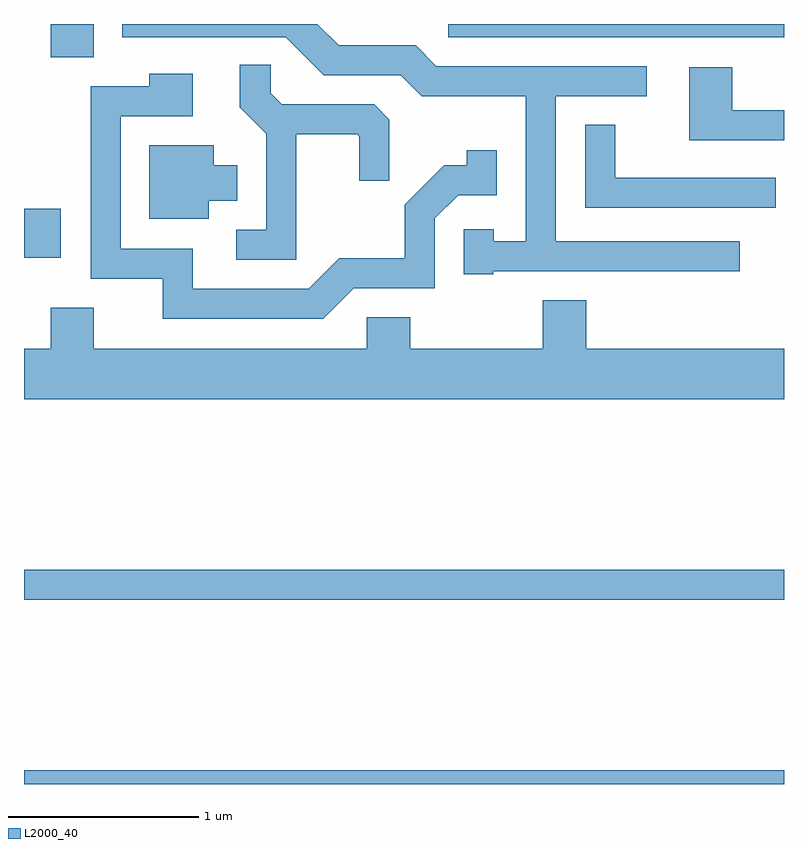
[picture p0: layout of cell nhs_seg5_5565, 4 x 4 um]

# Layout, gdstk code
import gdstk
lib = gdstk.Library(unit=1e-6, precision=1e-09)
def R(c, l, rs):  # rectangles x0, y0, x1, y1
    for r in rs: c.add(gdstk.rectangle(r[:2], r[2:], *l))
def P(c, l, *ps):  # polygons
    for p in ps: c.add(gdstk.Polygon(p, *l))
L2000_40 = (2000, 40)

nhs_seg5_5565 = lib.new_cell('nhs_seg5_5565')
R(nhs_seg5_5565, L2000_40, [(349.611,1488.072,353.611,1488.144), (349.611,1489.041,353.611,1489.199), (349.611,1490.841,349.804,1491.099), (349.751,1491.896,349.979,1492.072), (351.843,1492.001,353.611,1492.072)])
P(nhs_seg5_5565, L2000_40, [(352.08,1490.771),(353.378,1490.771),(353.378,1490.929),(352.409,1490.929),(352.409,1491.691),(352.888,1491.691),(352.888,1491.849),(351.782,1491.849),(351.672,1491.959),(351.267,1491.959),(351.154,1492.072),(350.128,1492.072),(350.128,1492.001),(350.989,1492.001),(351.189,1491.801),(351.594,1491.801),(351.704,1491.691),(352.251,1491.691),(352.251,1490.929),(352.084,1490.929),(352.084,1490.993),(351.926,1490.993),(351.926,1490.756),(352.08,1490.756)],
  [(351.044,1491.491),(351.364,1491.491),(351.376,1491.479),(351.376,1491.248),(351.534,1491.248),(351.534,1491.569),(351.454,1491.649),(350.967,1491.649),(350.909,1491.707),(350.909,1491.858),(350.746,1491.858),(350.746,1491.634),(350.886,1491.494),(350.886,1490.989),(350.728,1490.989),(350.728,1490.831),(351.044,1490.831)],
  [(353.611,1491.619),(353.339,1491.619),(353.339,1491.844),(353.111,1491.844),(353.111,1491.461),(353.611,1491.461)],
  [(351.347,1490.681),(351.774,1490.681),(351.774,1491.049),(351.897,1491.171),(352.099,1491.171),(352.099,1491.408),(351.941,1491.408),(351.941,1491.329),(351.824,1491.329),(351.616,1491.122),(351.616,1490.839),(351.269,1490.839),(351.109,1490.679),(350.499,1490.679),(350.499,1490.889),(350.119,1490.889),(350.119,1491.586),(350.499,1491.586),(350.499,1491.809),(350.271,1491.809),(350.271,1491.744),(349.961,1491.744),(349.961,1490.731),(350.341,1490.731),(350.341,1490.521),(351.187,1490.521)],
  [(353.568,1491.264),(352.724,1491.264),(352.724,1491.543),(352.566,1491.543),(352.566,1491.106),(353.568,1491.106)],
  [(350.584,1491.141),(350.734,1491.141),(350.734,1491.329),(350.609,1491.329),(350.609,1491.434),(350.271,1491.434),(350.271,1491.046),(350.584,1491.046)],
  [(353.611,1490.364),(352.569,1490.364),(352.569,1490.619),(352.341,1490.619),(352.341,1490.364),(351.644,1490.364),(351.644,1490.529),(351.416,1490.529),(351.416,1490.364),(349.979,1490.364),(349.979,1490.579),(349.751,1490.579),(349.751,1490.364),(349.611,1490.364),(349.611,1490.096),(353.611,1490.096)])

lib.write_gds('nhs_seg5_5565.gds')
